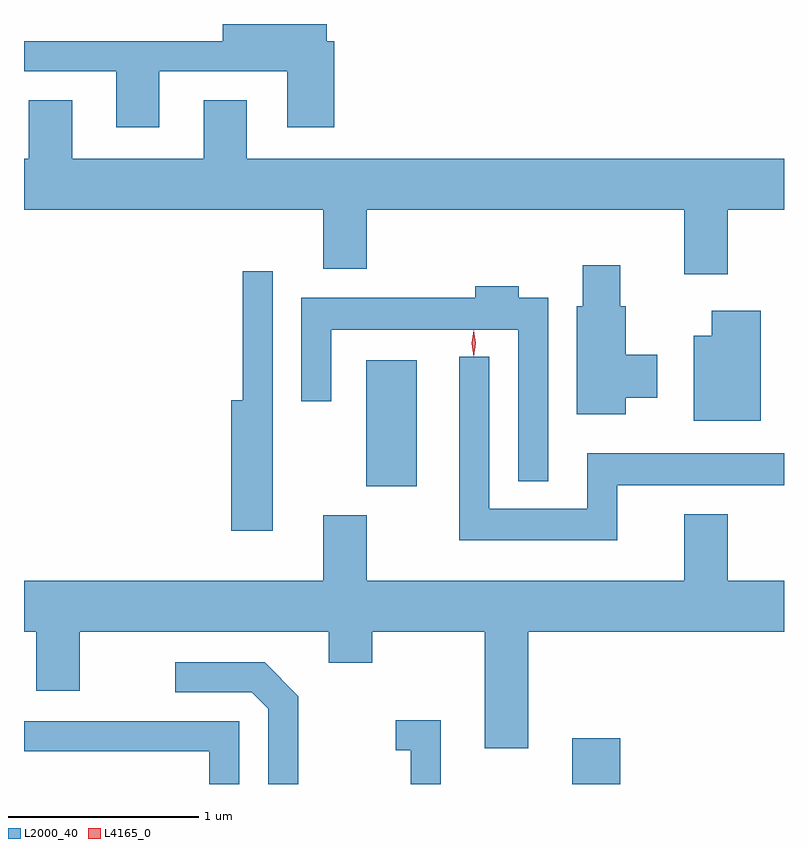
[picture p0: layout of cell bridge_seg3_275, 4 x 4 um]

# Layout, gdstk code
import gdstk
lib = gdstk.Library(unit=1e-6, precision=1e-09)
def R(c, l, rs):  # rectangles x0, y0, x1, y1
    for r in rs: c.add(gdstk.rectangle(r[:2], r[2:], *l))
def P(c, l, *ps):  # polygons
    for p in ps: c.add(gdstk.Polygon(p, *l))
L2000_40 = (2000, 40)
L4165_0 = (4165, 0)

bridge_seg3_275 = lib.new_cell('bridge_seg3_275')
R(bridge_seg3_275, L2000_40, [(1047.741,1140.754,1047.994,1140.994), (1046.656,1142.321,1046.924,1142.984)])
P(bridge_seg3_275, L2000_40, [(1045.569,1144.506),(1046.241,1144.506),(1046.241,1144.211),(1046.489,1144.211),(1046.489,1144.664),(1046.449,1144.664),(1046.449,1144.754),(1045.901,1144.754),(1045.901,1144.664),(1044.856,1144.664),(1044.856,1144.506),(1045.341,1144.506),(1045.341,1144.211),(1045.569,1144.211)],
  [(1048.559,1143.776),(1048.856,1143.776),(1048.856,1144.044),(1046.029,1144.044),(1046.029,1144.354),(1045.801,1144.354),(1045.801,1144.044),(1045.109,1144.044),(1045.109,1144.354),(1044.881,1144.354),(1044.881,1144.044),(1044.856,1144.044),(1044.856,1143.776),(1046.431,1143.776),(1046.431,1143.466),(1046.659,1143.466),(1046.659,1143.776),(1048.331,1143.776),(1048.331,1143.436),(1048.559,1143.436)],
  [(1048.024,1142.786),(1048.189,1142.786),(1048.189,1143.014),(1048.024,1143.014),(1048.024,1143.269),(1047.994,1143.269),(1047.994,1143.484),(1047.796,1143.484),(1047.796,1143.269),(1047.766,1143.269),(1047.766,1142.701),(1048.024,1142.701)],
  [(1046.164,1143.453),(1046.006,1143.453),(1046.006,1142.774),(1045.946,1142.774),(1045.946,1142.086),(1046.164,1142.086)],
  [(1047.614,1143.314),(1047.459,1143.314),(1047.459,1143.374),(1047.231,1143.374),(1047.231,1143.314),(1046.316,1143.314),(1046.316,1142.768),(1046.474,1142.768),(1046.474,1143.146),(1047.456,1143.146),(1047.456,1142.348),(1047.614,1142.348)],
  [(1048.734,1143.244),(1048.476,1143.244),(1048.476,1143.114),(1048.381,1143.114),(1048.381,1142.666),(1048.734,1142.666)],
  [(1047.979,1142.326),(1048.856,1142.326),(1048.856,1142.494),(1047.821,1142.494),(1047.821,1142.204),(1047.304,1142.204),(1047.304,1143.003),(1047.146,1143.003),(1047.146,1142.036),(1047.979,1142.036)],
  [(1046.461,1141.391),(1046.689,1141.391),(1046.689,1141.556),(1047.281,1141.556),(1047.281,1140.941),(1047.509,1140.941),(1047.509,1141.556),(1048.856,1141.556),(1048.856,1141.824),(1048.559,1141.824),(1048.559,1142.174),(1048.331,1142.174),(1048.331,1141.824),(1046.659,1141.824),(1046.659,1142.169),(1046.431,1142.169),(1046.431,1141.824),(1044.856,1141.824),(1044.856,1141.556),(1044.921,1141.556),(1044.921,1141.246),(1045.149,1141.246),(1045.149,1141.556),(1046.461,1141.556)],
  [(1046.299,1141.217),(1046.122,1141.394),(1045.652,1141.394),(1045.652,1141.236),(1046.054,1141.236),(1046.141,1141.149),(1046.141,1140.754),(1046.299,1140.754)],
  [(1047.049,1141.089),(1046.813,1141.089),(1046.813,1140.931),(1046.891,1140.931),(1046.891,1140.754),(1047.049,1140.754)],
  [(1045.989,1141.084),(1044.856,1141.084),(1044.856,1140.926),(1045.831,1140.926),(1045.831,1140.754),(1045.989,1140.754)])
P(bridge_seg3_275, L4165_0, [(1047.222,1143.004),(1047.213,1143.073),(1047.222,1143.142),(1047.223,1143.143),(1047.223,1143.142),(1047.233,1143.073),(1047.223,1143.004),(1047.223,1143.004)])

lib.write_gds('bridge_seg3_275.gds')
